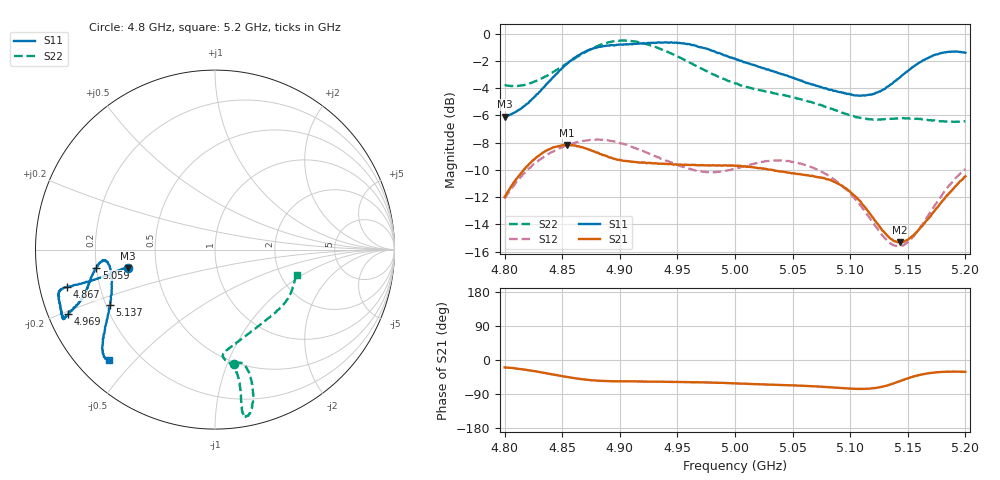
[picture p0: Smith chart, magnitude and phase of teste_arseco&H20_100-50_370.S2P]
! Network Analyzer HP8722D
! Hewlett-Packard
! Data name: Linha & Wilkinson
! Saver's name: Rodrigo Anjos
! Comments: Teste da utilização de aquisição
! continua pelo VNA HP8722D
! Time and date: 6/5/2025 15:39
!  Frequency  S11  S21  S12  S22
# HZ  S  MA R 50
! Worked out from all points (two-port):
!   401 points, 4.8 GHz to 5.2 GHz, reference 50 ohm
!   highest |S21| = -8.17 dB at 4.854 GHz (marker M1); lowest = -15.3 dB at 5.143 GHz (marker M2)
!   |S21| within 3 dB of the highest: 4.806 GHz to 5.093 GHz (286.8 MHz wide, 5.79 % of centre); 5.191903 GHz to end of sweep
!   lowest |S11| = -6.1 dB at 4.8 GHz (marker M3), VSWR 2.97, Z = 17 - j4.59 ohm
!   |S11| at or under -10 dB: nowhere
!   |S22| runs from -6.5 to -0.5 dB; largest |S21 - S12| = 0.62
!   S11 on the Smith chart (normalised r, x): 4.8 GHz: 0.34, -0.09; 4.867 GHz: 0.08, -0.12; 4.969 GHz: 0.06, -0.21; 5.059 GHz: 0.20, -0.07; 5.137 GHz: 0.22, -0.24; 5.2 GHz: 0.09, -0.43
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4.8e9  0.4967 -168.2  0.2514 -19.6  0.2481 -140.8  0.6475 -80.4
4.826e9  0.5869 -167.2  0.3467 -29.5  0.3329 -144.2  0.6683 -75.6
4.854e9  0.7756 -165.8  0.3905 -44.7  0.3892 -149.7  0.7776 -74.6
4.867e9  0.8484 -165.7  0.3839 -50.6  0.4029 -151.9  0.8436 -75.4
4.88e9  0.8893 -165.4  0.3657 -54.4  0.409 -154.0  0.8998 -76.7
4.899e9  0.9128 -162.6  0.3445 -56.4  0.3989 -156.6  0.943 -79.1
4.916e9  0.9216 -159.2  0.3369 -56.8  0.3765 -156.9  0.9323 -80.2
4.934e9  0.9292 -156.3  0.3328 -57.3  0.3515 -155.6  0.8842 -80.4
4.969e9  0.8948 -156.3  0.3284 -58.9  0.3125 -147.2  0.7527 -79.7
5e9  0.8111 -158.9  0.3276 -61.7  0.3198 -137.1  0.6578 -81.2
5.035e9  0.724 -165.2  0.3142 -65.7  0.3426 -134.2  0.6032 -85.6
5.059e9  0.6683 -171.4  0.3037 -68.0  0.3317 -136.0  0.5725 -84.4
5.067e9  0.6523 -173.0  0.3011 -68.9  0.3231 -136.6  0.5596 -82.6
5.082e9  0.6227 -174.5  0.291 -71.8  0.2996 -138.1  0.5326 -77.2
5.101e9  0.599 -172.1  0.2604 -75.6  0.2561 -138.7  0.5005 -66.6
5.116e9  0.5973 -165.5  0.2214 -75.9  0.2132 -135.5  0.4865 -55.9
5.134e9  0.6456 -154.2  0.1782 -65.3  0.1707 -120.8  0.4872 -43.3
5.137e9  0.6596 -152.3  0.1744 -62.5  0.168 -117.0  0.4875 -41.5
5.143e9  0.6911 -149.2  0.1713 -55.9  0.1661 -109.0  0.4889 -38.1
5.154e9  0.753 -144.4  0.1808 -44.5  0.1788 -95.1  0.4878 -32.3
5.173e9  0.8357 -138.8  0.2229 -33.3  0.2326 -80.8  0.4811 -24.2
5.2e9  0.8521 -133.6  0.2995 -31.3  0.3188 -76.8  0.4771 -17.6
